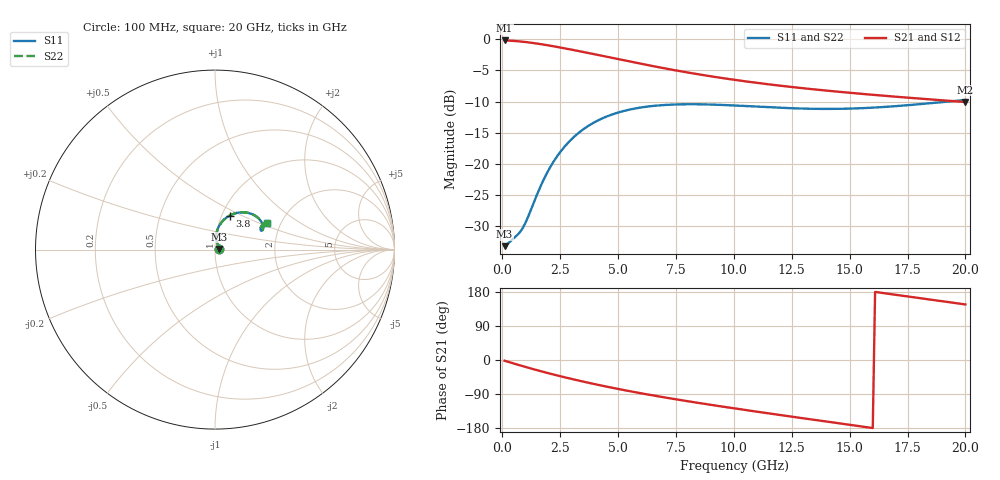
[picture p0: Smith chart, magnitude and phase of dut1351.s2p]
! Touchstone file exported from HFSS 2024.1.0
!  File:  C:/UserFiles/LocalFiles/RDL_TSV_Batchsim/temp_RDL_TSV_1351_1780394025.aedt
!  Generated:  06:08:42 PM Jun  2, 2026
!  Design:  RDL_TSV
!  Project:  temp_RDL_TSV_1351_1780394025
!  Setup:  Setup1
!  Solution:  Sweep
! Variables:
!  dtsv = 9.25um
!  hbump = 3um
!  htsv = 80.25um
!  ldown = 430.74um
!  lrdl = 419.21um
!  p = 40
!  p1 = 53.16um
!  rhole = 10um
!  subl = 2969.06um
!  t = 450um
!  tdown = 2.24um
!  trdl = 3.05um
!  viad = 10um
!  wdown = 15.04um
!  wrdl = 25.09um
!  xbump = 18um
# GHz S MA R 50.000000
! Terminal data exported
! Port[1] = TM1_1_T1
! Port[2] = TM1_4_T1
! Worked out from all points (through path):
!   200 points, 100 MHz to 20 GHz, reference 50 ohm
!   highest |S21| = -0.19 dB at 100 MHz (marker M1); lowest = -10.1 dB at 20 GHz (marker M2)
!   group delay of S21, straight-line fit = 27.8 ps
!   lowest |S11| = -33.2 dB at 100 MHz (marker M3), VSWR 1.04, Z = 52.2 + j0.324 ohm
!   |S11| at or under -10 dB: start of sweep to 19.22 GHz
!   |S22| runs from -33.2 to -9.7 dB; largest |S21 - S12| = 4.2e-14
!   S11 on the Smith chart (normalised r, x): 100 MHz: 1.04, +0.01; 3.8 GHz: 1.09, +0.43; 20 GHz: 1.69, +0.57
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0.1  0.02195 8.1  0.9779 -1.9  0.9779 -1.9  0.02195 8.1
! Gamma 0 0 0 0
! Port Impedance 50 0 50 0
0.7  0.02758 46.0  0.9625 -13.0  0.9625 -13.0  0.02752 46.2
0.9  0.03108 58.8  0.9544 -16.5  0.9544 -16.5  0.03109 58.9
1.1  0.03717 70.0  0.9451 -20.1  0.9451 -20.1  0.03724 70.1
1.4  0.05122 80.5  0.929 -25.2  0.929 -25.2  0.0513 80.5
1.8  0.07585 84.9  0.905 -31.8  0.905 -31.8  0.0759 84.9
2.2  0.1034 83.8  0.8791 -38.1  0.8791 -38.1  0.1035 83.8
2.6  0.1315 80.4  0.8521 -44.2  0.8521 -44.2  0.1316 80.4
3  0.1587 76.1  0.8247 -50.1  0.8247 -50.1  0.1587 76.1
3.5  0.1899 70.2  0.7905 -57.1  0.7905 -57.1  0.1899 70.2
3.8  0.2067 66.6  0.7702 -61.2  0.7702 -61.2  0.2068 66.6
4.4  0.2357 59.8  0.7307 -69.0  0.7307 -69.0  0.2358 59.8
5.1  0.2618 52.5  0.6869 -77.6  0.6869 -77.6  0.2619 52.5
5.9  0.2821 45.3  0.6408 -86.8  0.6408 -86.8  0.2823 45.3
6.8  0.2953 38.4  0.5944 -96.6  0.5944 -96.6  0.2955 38.4
8.3  0.3013 30.0  0.5299 -111.6  0.5299 -111.6  0.3014 30.0
10.1  0.294 24.1  0.4707 -128.4  0.4707 -128.4  0.2941 24.0
11.7  0.284 22.1  0.4308 -142.5  0.4308 -142.5  0.2841 22.0
13.4  0.277 22.6  0.3975 -157.3  0.3975 -157.3  0.2771 22.5
15  0.278 24.4  0.3723 -171.0  0.3723 -171.0  0.278 24.4
16.7  0.2883 26.6  0.3498 174.5  0.3498 174.5  0.2883 26.6
20  0.3261 27.5  0.314 146.6  0.314 146.6  0.3264 27.5
